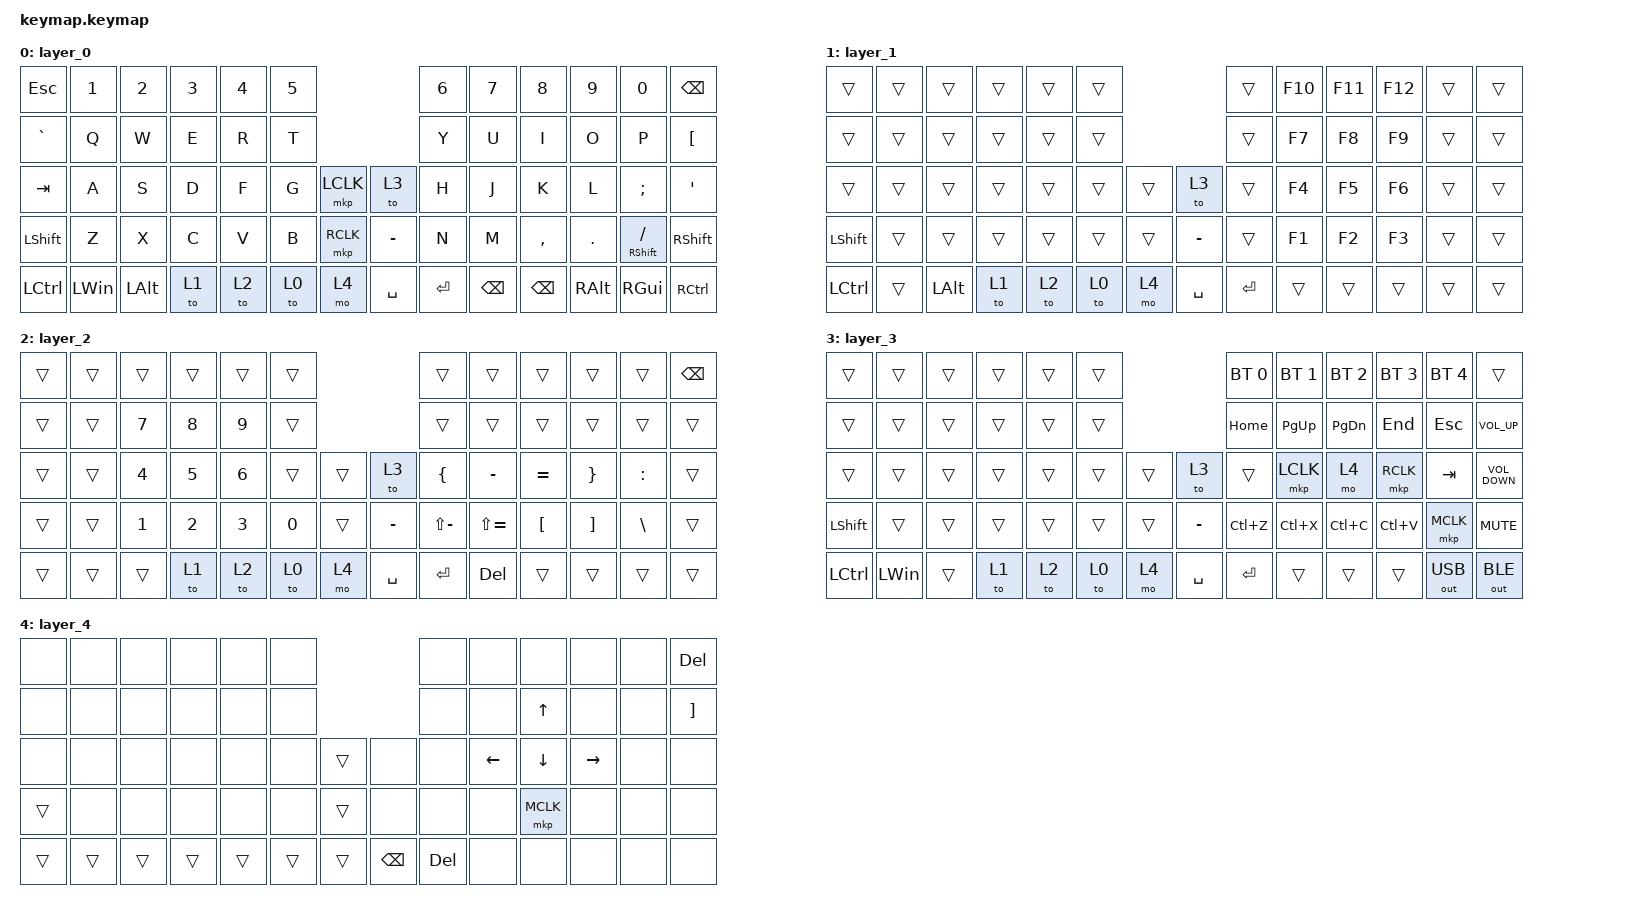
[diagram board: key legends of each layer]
#include <input/processors.dtsi>
#include <behaviors.dtsi>
#include <dt-bindings/zmk/bt.h>
#include <dt-bindings/zmk/keys.h>
#include <dt-bindings/zmk/outputs.h>
#include <dt-bindings/zmk/pointing.h>

/ {
    combos {
        compatible = "zmk,combos";

        bt_clear {
            bindings = <&bt BT_CLR>;
            key-positions = <28 29>;
            layers = <2>;
        };
    };

    keymap {
        compatible = "zmk,keymap";

        layer_0 {
            bindings = <
&kp ESC    &kp N1        &kp N2        &kp N3  &kp N4  &kp N5                        &kp N6   &kp N7    &kp N8         &kp N9         &kp N0                &kp BACKSPACE
&kp GRAVE  &kp Q         &kp W         &kp E   &kp R   &kp T                         &kp Y    &kp U     &kp I          &kp O          &kp P                 &kp LEFT_BRACKET
&kp TAB    &kp A         &kp S         &kp D   &kp F   &kp G   &mkp LCLK  &to 3      &kp H    &kp J     &kp K          &kp L          &kp SEMI              &kp SQT
&kp LSHFT  &kp Z         &kp X         &kp C   &kp V   &kp B   &mkp RCLK  &kp MINUS  &kp N    &kp M     &kp COMMA      &kp DOT        &mt RIGHT_SHIFT FSLH  &kp RSHFT
&kp LCTRL  &kp LEFT_WIN  &kp LEFT_ALT  &to 1   &to 2   &to 0   &mo 4      &kp SPACE  &kp RET  &kp BSPC  &kp BACKSPACE  &kp RIGHT_ALT  &kp RIGHT_GUI         &kp RCTRL
            >;
        };

        layer_1 {
            bindings = <
&trans     &trans  &trans    &trans  &trans  &trans                     &trans     &kp F10  &kp F11  &kp F12  &trans  &trans
&trans     &trans  &trans    &trans  &trans  &trans                     &trans     &kp F7   &kp F8   &kp F9   &trans  &trans
&trans     &trans  &trans    &trans  &trans  &trans  &trans  &to 3      &trans     &kp F4   &kp F5   &kp F6   &trans  &trans
&kp LSHFT  &trans  &trans    &trans  &trans  &trans  &trans  &kp MINUS  &trans     &kp F1   &kp F2   &kp F3   &trans  &trans
&kp LCTRL  &trans  &kp LALT  &to 1   &to 2   &to 0   &mo 4   &kp SPACE  &kp ENTER  &trans   &trans   &trans   &trans  &trans
            >;
        };

        layer_2 {
            bindings = <
&trans  &trans  &trans  &trans  &trans  &trans                     &trans          &trans         &trans            &trans             &trans         &kp BACKSPACE
&trans  &trans  &kp N7  &kp N8  &kp N9  &trans                     &trans          &trans         &trans            &trans             &trans         &trans
&trans  &trans  &kp N4  &kp N5  &kp N6  &trans  &trans  &to 3      &kp LEFT_BRACE  &kp MINUS      &kp EQUAL         &kp RIGHT_BRACE    &kp COLON      &trans
&trans  &trans  &kp N1  &kp N2  &kp N3  &kp N0  &trans  &kp MINUS  &kp LS(MINUS)   &kp LS(EQUAL)  &kp LEFT_BRACKET  &kp RIGHT_BRACKET  &kp BACKSLASH  &trans
&trans  &trans  &trans  &to 1   &to 2   &to 0   &mo 4   &kp SPACE  &kp ENTER       &kp DEL        &trans            &trans             &trans         &trans
            >;
        };

        layer_3 {
            bindings = <
&trans     &trans        &trans  &trans  &trans  &trans                     &bt BT_SEL 0  &bt BT_SEL 1  &bt BT_SEL 2   &bt BT_SEL 3  &bt BT_SEL 4  &trans
&trans     &trans        &trans  &trans  &trans  &trans                     &kp HOME      &kp PG_UP     &kp PAGE_DOWN  &kp END       &kp ESCAPE    &kp C_VOLUME_UP
&trans     &trans        &trans  &trans  &trans  &trans  &trans  &to 3      &trans        &mkp LCLK     &mo 4          &mkp RCLK     &kp TAB       &kp C_VOLUME_DOWN
&kp LSHFT  &trans        &trans  &trans  &trans  &trans  &trans  &kp MINUS  &kp LC(Z)     &kp LC(X)     &kp LC(C)      &kp LC(V)     &mkp MCLK     &kp C_MUTE
&kp LCTRL  &kp LEFT_WIN  &trans  &to 1   &to 2   &to 0   &mo 4   &kp SPACE  &kp ENTER     &trans        &trans         &trans        &out OUT_USB  &out OUT_BLE
            >;
        };

        layer_4 {
            bindings = <
&none   &none   &none   &none   &none   &none                          &none       &none           &none           &none            &none  &kp DEL
&none   &none   &none   &none   &none   &none                          &none       &none           &kp UP_ARROW    &none            &none  &kp RIGHT_BRACKET
&none   &none   &none   &none   &none   &none   &trans  &none          &none       &kp LEFT_ARROW  &kp DOWN_ARROW  &kp RIGHT_ARROW  &none  &none
&trans  &none   &none   &none   &none   &none   &trans  &none          &none       &none           &mkp MCLK       &none            &none  &none
&trans  &trans  &trans  &trans  &trans  &trans  &trans  &kp BACKSPACE  &kp DELETE  &none           &none           &none            &none  &none
            >;
        };
    };
};

&pointing_listener {
    scroller {
        layers = <4>;
        input-processors = <&zip_xy_to_scroll_mapper>, <&zip_scroll_scaler 1 8>;
    };
};
